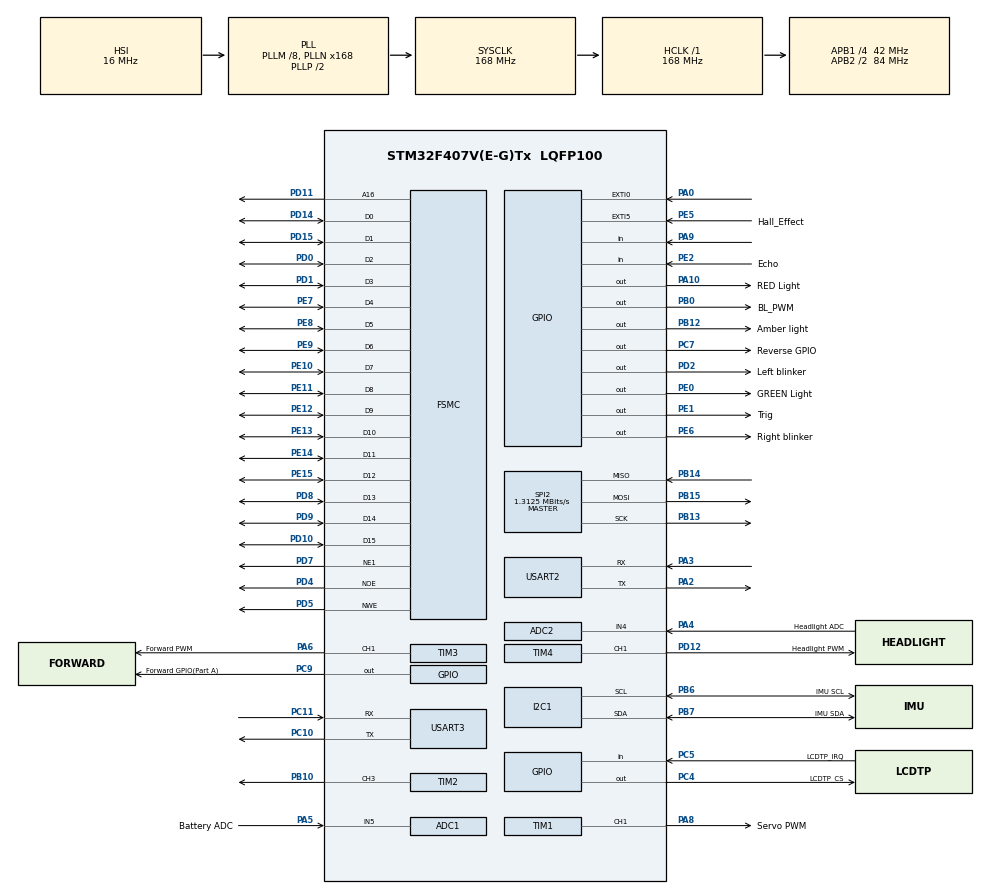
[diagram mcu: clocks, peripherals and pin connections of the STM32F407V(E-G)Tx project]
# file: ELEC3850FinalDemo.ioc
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ADC1.Channel-1\#ChannelRegularConversion=ADC_CHANNEL_5
ADC1.ContinuousConvMode=ENABLE
ADC1.DMAContinuousRequests=ENABLE
ADC1.NbrOfConversionFlag=1
ADC1.Rank-1\#ChannelRegularConversion=1
ADC1.SamplingTime-1\#ChannelRegularConversion=ADC_SAMPLETIME_3CYCLES
ADC1.ScanConvMode=ENABLE
ADC1.master=1
ADC2.Channel-0\#ChannelRegularConversion=ADC_CHANNEL_4
ADC2.ContinuousConvMode=ENABLE
ADC2.DMAContinuousRequests=ENABLE
ADC2.NbrOfConversionFlag=1
ADC2.Rank-0\#ChannelRegularConversion=1
ADC2.SamplingTime-0\#ChannelRegularConversion=ADC_SAMPLETIME_3CYCLES
Dma.ADC1.0.Direction=DMA_PERIPH_TO_MEMORY
Dma.ADC1.0.FIFOMode=DMA_FIFOMODE_DISABLE
Dma.ADC1.0.Instance=DMA2_Stream0
Dma.ADC1.0.MemDataAlignment=DMA_MDATAALIGN_WORD
Dma.ADC1.0.MemInc=DMA_MINC_ENABLE
Dma.ADC1.0.Mode=DMA_CIRCULAR
Dma.ADC1.0.PeriphDataAlignment=DMA_PDATAALIGN_WORD
Dma.ADC1.0.PeriphInc=DMA_PINC_DISABLE
Dma.ADC1.0.Priority=DMA_PRIORITY_LOW
Dma.ADC2.1.Direction=DMA_PERIPH_TO_MEMORY
Dma.ADC2.1.FIFOMode=DMA_FIFOMODE_DISABLE
Dma.ADC2.1.Instance=DMA2_Stream2
Dma.ADC2.1.MemDataAlignment=DMA_MDATAALIGN_WORD
Dma.ADC2.1.MemInc=DMA_MINC_ENABLE
Dma.ADC2.1.Mode=DMA_CIRCULAR
Dma.ADC2.1.PeriphDataAlignment=DMA_PDATAALIGN_WORD
Dma.ADC2.1.PeriphInc=DMA_PINC_DISABLE
Dma.ADC2.1.Priority=DMA_PRIORITY_LOW
Dma.Request0=ADC1
Dma.Request1=ADC2
Dma.Request2=USART2_RX
Dma.USART2_RX.2.Direction=DMA_PERIPH_TO_MEMORY
Dma.USART2_RX.2.FIFOMode=DMA_FIFOMODE_DISABLE
Dma.USART2_RX.2.Instance=DMA1_Stream5
Dma.USART2_RX.2.MemDataAlignment=DMA_MDATAALIGN_BYTE
Dma.USART2_RX.2.MemInc=DMA_MINC_ENABLE
Dma.USART2_RX.2.Mode=DMA_CIRCULAR
Dma.USART2_RX.2.PeriphDataAlignment=DMA_PDATAALIGN_BYTE
Dma.USART2_RX.2.PeriphInc=DMA_PINC_DISABLE
Dma.USART2_RX.2.Priority=DMA_PRIORITY_LOW
FSMC.AddressSetupTime1=4
FSMC.BusTurnAroundDuration1=0
FSMC.DataSetupTime1=40
Mcu.Family=STM32F4
Mcu.Name=STM32F407V(E-G)Tx
Mcu.Package=LQFP100
NVIC.DMA1_Stream5_IRQn=true\:0\:0\:false\:false\:true\:false\:true
NVIC.DMA2_Stream0_IRQn=true\:0\:0\:false\:false\:true\:false\:true
NVIC.DMA2_Stream2_IRQn=true\:0\:0\:false\:false\:true\:false\:true
NVIC.EXTI0_IRQn=true\:0\:0\:false\:false\:true\:true\:true
NVIC.EXTI9_5_IRQn=true\:0\:0\:false\:false\:true\:true\:true
NVIC.PriorityGroup=NVIC_PRIORITYGROUP_4
NVIC.SPI2_IRQn=true\:0\:0\:false\:false\:true\:true\:true
NVIC.TIM5_IRQn=true\:0\:0\:false\:false\:true\:true\:true
PA0-WKUP.GPIO_ModeDefaultEXTI=GPIO_MODE_IT_FALLING
PA0-WKUP.Signal=GPXTI0
PA10.GPIO_Label=RED Light
PA10.Signal=GPIO_Output
PA2.Mode=Asynchronous
PA2.Signal=USART2_TX
PA3.Mode=Asynchronous
PA3.Signal=USART2_RX
PA4.GPIO_Label=Headlight ADC
PA4.Signal=ADCx_IN4
PA5.GPIO_Label=Battery ADC
PA5.Signal=ADCx_IN5
PA6.GPIO_Label=Forward PWM
PA6.Signal=S_TIM3_CH1
PA8.GPIO_Label=Servo PWM
PA8.Signal=S_TIM1_CH1
PA9.Signal=GPIO_Input
PB0.GPIO_Label=BL_PWM
PB0.PinState=GPIO_PIN_RESET
PB0.Signal=GPIO_Output
PB10.Signal=S_TIM2_CH3
PB12.GPIO_Label=Amber light
PB12.Signal=GPIO_Output
PB13.Mode=Full_Duplex_Master
PB13.Signal=SPI2_SCK
PB14.Mode=Full_Duplex_Master
PB14.Signal=SPI2_MISO
PB15.Mode=Full_Duplex_Master
PB15.Signal=SPI2_MOSI
PB6.GPIO_Label=IMU SCL
PB6.Mode=I2C
PB6.Signal=I2C1_SCL
PB7.GPIO_Label=IMU SDA
PB7.Mode=I2C
PB7.Signal=I2C1_SDA
PC10.Mode=Asynchronous
PC10.Signal=USART3_TX
PC11.Mode=Asynchronous
PC11.Signal=USART3_RX
PC4.GPIO_Label=LCDTP_CS
PC4.GPIO_PuPd=GPIO_PULLDOWN
PC4.Signal=GPIO_Output
PC5.GPIO_Label=LCDTP_IRQ
PC5.GPIO_PuPd=GPIO_NOPULL
PC5.Signal=GPIO_Input
PC7.GPIO_Label=Reverse GPIO
PC7.Signal=GPIO_Output
PC9.GPIO_Label=Forward GPIO(Part A)
PC9.Signal=GPIO_Output
PD0.Mode=16b-d1
PD0.Signal=FSMC_D2
PD1.Mode=16b-d1
PD1.Signal=FSMC_D3
PD10.Mode=16b-d1
PD10.Signal=FSMC_D15
PD11.Mode=A16_1
PD11.Signal=FSMC_A16
PD12.GPIO_Label=Headlight PWM
PD12.Signal=S_TIM4_CH1
PD14.Mode=16b-d1
PD14.Signal=FSMC_D0
PD15.Mode=16b-d1
PD15.Signal=FSMC_D1
PD2.GPIO_Label=Left blinker
PD2.Signal=GPIO_Output
PD4.Mode=Lcd1
PD4.Signal=FSMC_NOE
PD5.Mode=Lcd1
PD5.Signal=FSMC_NWE
PD7.Mode=NorPsramChipSelect1_1
PD7.Signal=FSMC_NE1
PD8.Mode=16b-d1
PD8.Signal=FSMC_D13
PD9.Mode=16b-d1
PD9.Signal=FSMC_D14
PE0.GPIO_Label=GREEN Light
PE0.Signal=GPIO_Output
PE1.GPIO_Label=Trig
PE1.Signal=GPIO_Output
PE10.Mode=16b-d1
PE10.Signal=FSMC_D7
PE11.Mode=16b-d1
PE11.Signal=FSMC_D8
PE12.Mode=16b-d1
PE12.Signal=FSMC_D9
PE13.Mode=16b-d1
PE13.Signal=FSMC_D10
PE14.Mode=16b-d1
PE14.Signal=FSMC_D11
PE15.Mode=16b-d1
PE15.Signal=FSMC_D12
PE2.GPIO_Label=Echo
PE2.Signal=GPIO_Input
PE5.GPIO_Label=Hall_Effect
PE5.GPIO_ModeDefaultEXTI=GPIO_MODE_IT_FALLING
PE5.GPIO_PuPd=GPIO_PULLUP
PE5.Signal=GPXTI5
PE6.GPIO_Label=Right blinker
PE6.Signal=GPIO_Output
PE7.Mode=16b-d1
PE7.Signal=FSMC_D4
PE8.Mode=16b-d1
PE8.Signal=FSMC_D5
PE9.Mode=16b-d1
PE9.Signal=FSMC_D6
ProjectManager.HeapSize=0x200
ProjectManager.StackSize=0x400
ProjectManager.TargetToolchain=STM32CubeIDE
RCC.48MHZClocksFreq_Value=84000000
RCC.AHBFreq_Value=168000000
RCC.APB1CLKDivider=RCC_HCLK_DIV4
RCC.APB1Freq_Value=42000000
RCC.APB1TimFreq_Value=84000000
RCC.APB2CLKDivider=RCC_HCLK_DIV2
RCC.APB2Freq_Value=84000000
RCC.APB2TimFreq_Value=168000000
RCC.CortexFreq_Value=168000000
RCC.HCLKFreq_Value=168000000
RCC.HSE_VALUE=8000000
RCC.HSI_VALUE=16000000
RCC.LSE_VALUE=32768
RCC.PLLM=8
RCC.PLLN=168
RCC.SYSCLKFreq_VALUE=168000000
RCC.SYSCLKSource=RCC_SYSCLKSOURCE_PLLCLK
RCC.VCOOutputFreq_Value=336000000
SH.ADCx_IN4.0=ADC2_IN4,IN4
SH.ADCx_IN5.0=ADC1_IN5,IN5
SH.S_TIM1_CH1.0=TIM1_CH1,PWM Generation1 CH1
SH.S_TIM2_CH3.0=TIM2_CH3,PWM Generation3 CH3
SH.S_TIM3_CH1.0=TIM3_CH1,PWM Generation1 CH1
SH.S_TIM4_CH1.0=TIM4_CH1,PWM Generation1 CH1
SPI2.BaudRatePrescaler=SPI_BAUDRATEPRESCALER_32
SPI2.CalculateBaudRate=1.3125 MBits/s
SPI2.Direction=SPI_DIRECTION_2LINES
SPI2.Mode=SPI_MODE_MASTER
SPI2.VirtualType=VM_MASTER
TIM1.Channel-PWM\ Generation1\ CH1=TIM_CHANNEL_1
TIM1.Period=2000
TIM1.Prescaler=1680
TIM2.Channel-PWM\ Generation3\ CH3=TIM_CHANNEL_3
TIM2.Period=499
TIM2.Prescaler=84
TIM3.Channel-PWM\ Generation1\ CH1=TIM_CHANNEL_1
TIM3.Period=499
TIM3.Prescaler=84
TIM4.Channel-PWM\ Generation1\ CH1=TIM_CHANNEL_1
TIM4.Period=1000
TIM4.Prescaler=66
TIM5.AutoReloadPreload=TIM_AUTORELOAD_PRELOAD_ENABLE
TIM5.Period=42000
TIM5.Prescaler=10000
USART2.VirtualMode=VM_ASYNC
USART3.VirtualMode=VM_ASYNC
VP_TIM1_VS_ClockSourceINT.Mode=Internal
VP_TIM2_VS_ClockSourceINT.Mode=Internal
VP_TIM3_VS_ClockSourceINT.Mode=Internal
VP_TIM4_VS_ClockSourceINT.Mode=Internal
VP_TIM5_VS_ClockSourceINT.Mode=Internal
board=custom

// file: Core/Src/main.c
/* USER CODE BEGIN Header */
/**
 ******************************************************************************
 * @file           : main.c
 * @brief          : Main program body
 ******************************************************************************
 * @attention
 *
 * <h2><center>&copy; Copyright (c) 2020 STMicroelectronics.
 * All rights reserved.</center></h2>
 *
 * This software component is licensed by ST under BSD 3-Clause license,
 * the "License"; You may not use this file except in compliance with the
 * License. You may obtain a copy of the License at:
 *                        opensource.org/licenses/BSD-3-Clause
 *
 ******************************************************************************
 */
/* USER CODE END Header */
#include "main.h"
#include "adc.h"
#include "dma.h"
#include "i2c.h"
#include "spi.h"
#include "tim.h"
#include "usart.h"
#include "gpio.h"
#include "fsmc.h"

/* USER CODE BEGIN Includes */
#include "../Fonts/fonts.h"
#include "../BSP/openx07v_c_lcd.h"
#include <math.h>
#include "stm32f407xx.h"
#include "stdio.h"
#include "inttypes.h"
#include <string.h>
#include "stm32f4xx_hal.h"
#include "lsm9ds1_reg.h"
#include "../BSP/touch_panel.h"

/* USER CODE END Includes */

/* USER CODE BEGIN PTD */
//State Machine type definition
typedef void* (*func_t)();

//IMU typedefs
typedef union {
	int16_t i16bit[3];
	uint8_t u8bit[6];
} axis3bit16_t;

typedef struct {
	void *hbus;
	uint8_t i2c_address;
	uint8_t cs_port;
	uint8_t cs_pin;
} sensbus_t;

/* USER CODE END PTD */

/* USER CODE BEGIN PD */
#define SENSOR_BUS hi2c1
/* USER CODE END PD */

/* USER CODE BEGIN PM */
#define    BOOT_TIME            20 //ms
/* USER CODE END PM */

/* USER CODE BEGIN PV */
//General PVs
uint32_t stopDist;
uint16_t track, trackLight;

const int LEFT = 2;
const int RIGHT = 1;
const int FORWARD = 0;
const int REVERSE = 1;
const int HALL_EFFECT = 32;
const int ULTRASONIC = 4;
const int DRIVESPEED = 300;
const int TRACKONE= 80, TRACKTWO=45,TRACKTHREE= 75, TRACKFOUR=30,TRACKFIVE= 30, TRACKSIX=30;

//ADC PVs
uint32_t ADC_VALUE = 2;
uint32_t headlight = 2;
volatile int batCap;
enum {
	ADC_BUFFER_LEN = 8192
};
uint32_t ADC1_BUFFER[ADC_BUFFER_LEN];
uint32_t ADC2_BUFFER[ADC_BUFFER_LEN];
//Blinker variables
int blinkerFlag = 0;
int blinkerOnR = 0;
int blinkerOnL = 0;
int stopFlag = 1;
int countLcd = 0;

//Hall effect PVs
uint32_t newTime = 0, oldTime = 0;
volatile float speed;
volatile uint32_t quarterRevs = 0;
uint32_t storequarterRevs;

//Ultrasonic PVs
uint32_t sensor_time;
volatile uint16_t distance;
const uint16_t distanceLim = 40;
char buffer[100];
volatile uint8_t ultraFlag = 0;
volatile uint32_t sensorTime;

//State Machine PV
volatile uint16_t statechange = 0;

//Hall effect PV
char string[7], string2[18];

int counter;

//IMU private variables
static sensbus_t mag_bus = { &SENSOR_BUS, LSM9DS1_MAG_I2C_ADD_H, 0, 0 };
static sensbus_t imu_bus = { &SENSOR_BUS, LSM9DS1_IMU_I2C_ADD_H, 0, 0 };
static axis3bit16_t data_raw_acceleration;
static axis3bit16_t data_raw_angular_rate;
static axis3bit16_t data_raw_magnetic_field;
static float acceleration_mg[3];
static float angular_rate_mdps[3];
static float magnetic_field_mgauss[3];
static lsm9ds1_id_t whoamI;
static lsm9ds1_status_t reg;
static uint8_t rst;
static uint8_t tx_buffer[1000];
static stmdev_ctx_t dev_ctx_imu;
static stmdev_ctx_t dev_ctx_mag;
static float averageGyroZ;

//LCD variables

uint16_t linenum = 0;
const uint16_t MAX_ENTRY_COUNT = 159;
static uint16_t entryCount = 0;
static uint16_t displayEntryX = 1;
static uint16_t displayEntryY = 4;
char str[100]; //for displaying answer on lcd
uint8_t *state1String = "Wait state          ";
uint8_t *state2String = "Forward state       ";
uint8_t *state3String = "Reverse state       ";
uint8_t *state4String = "Clockwise state     ";
uint8_t *state5String = "Anti-clockwise state";
uint8_t *state6String = "Traffic Light state";
uint8_t *stateString="Wait state         ";

//wifi receive variables
//uint16_t uart_rx_data_waiting = 0;
////uint16_t uart_tx_data_waiting = 0;
//uint8_t rx_data[1];
//uint8_t del = 2;
//uint8_t cn = 0;

//wifi receive variables
uint8_t rx_data[3];
int i;
char *time;
volatile char light;
char one;
char two;
volatile int trafficStop;
float distTravelled = 0.0;

/* USER CODE END PV */

void SystemClock_Config(void);
/* USER CODE BEGIN PFP */
//General PFPs
void driveForward();
void reverse();
void turnLeft();
void turnRight();
void centreWheels(int direction);
void brake(int direction);
void stop(void);
uint32_t avoidObstacle(int direction);
uint8_t BSP_TP_Init(void);
uint8_t BSP_TP_GetDisplayPoint(Coordinate *pDisplay);

//LCD PFPs
void LCD_Print(uint8_t *stateString);
void CalculatorInit(void);
void CalculatorProcess(void);
void LCDEntry1(uint8_t *textEntry);
void LCDEntry2(uint8_t *textEntry, int length);
void LCDEntry(uint16_t displayEntryX, uint16_t displayEntryY,
		uint8_t *textEntry, uint16_t entryCount);
int distSelect();
int trackSelect();

//Hall Effect PFP
void HAL_GPIO_EXTI_Callback(uint16_t GPIO_Pin);

//Ultrasonic PFPs
uint32_t Read_HCSR04();
void getDistance(void);

//Servo PFPs
void servo_write(int);
int map(int, int, int, int, int);
void delay_us(uint16_t us);

//IMU PFPs
void IMU_Init(void);
void readIMU(void);
static int32_t platform_write_imu(void *handle, uint8_t reg, uint8_t *bufp,
		uint16_t len);
static int32_t platform_read_imu(void *handle, uint8_t reg, uint8_t *bufp,
		uint16_t len);
static int32_t platform_write_mag(void *handle, uint8_t reg, uint8_t *bufp,
		uint16_t len);
static int32_t platform_read_mag(void *handle, uint8_t reg, uint8_t *bufp,
		uint16_t len);
static void platform_delay(uint32_t ms);

//State functions
void* state1();
void* state2();
void* state3();
void* state4();
void* state5();
void* state6();
volatile func_t state = state1;

/* USER CODE END PFP */

int main(void)
{
  /* USER CODE BEGIN 1 */
	//char buffer[100];
  /* USER CODE END 1 */

  /* MCU Configuration--------------------------------------------------------*/

  /* Reset of all peripherals, Initializes the Flash interface and the Systick. */
  HAL_Init();

  /* Configure the system clock */
  SystemClock_Config();

  /* Initialize all configured peripherals */
  MX_GPIO_Init();
  MX_DMA_Init();
  MX_ADC1_Init();
  MX_FSMC_Init();
  MX_I2C1_Init();
  MX_TIM1_Init();
  MX_TIM2_Init();
  MX_TIM3_Init();
  MX_USART3_UART_Init();
  MX_SPI2_Init();
  MX_TIM4_Init();
  MX_ADC2_Init();
  MX_USART2_UART_Init();
  MX_TIM5_Init();
  /* USER CODE BEGIN 2 */
	CalculatorInit();
	IMU_Init();
	HAL_UART_Receive_DMA(&huart2, rx_data, 3);
	HAL_ADC_Start_DMA(&hadc1, ADC1_BUFFER, ADC_BUFFER_LEN);
	HAL_ADC_Start_DMA(&hadc2, ADC2_BUFFER, ADC_BUFFER_LEN);

	//  // Display welcome message
	//  BSP_LCD_Clear (LCD_COLOR_WHITE);
	//  BSP_LCD_SetFont (&Font24);
	//  BSP_LCD_SetTextColor (LCD_COLOR_BLACK);

	//BSP_LCD_DisplayStringAtLine (2, (uint8_t*) "Hello World");
	HAL_TIM_PWM_Start(&htim1, TIM_CHANNEL_1);
	HAL_TIM_Base_Start(&htim2);

	HAL_TIM_Base_Start(&htim3);               //Initialize stm32 timer 3
	HAL_TIM_PWM_Start(&htim3, TIM_CHANNEL_1);
	HAL_TIM_Base_Start(&htim4);               //Initialize stm32 timer 3
	HAL_TIM_PWM_Start(&htim4, TIM_CHANNEL_1);
	HAL_TIM_Base_Start_IT(&htim5);
	stop();

	centreWheels(FORWARD);
	//servo_sweep();

	//lsm9ds1_read_data_polling();
  /* USER CODE END 2 */

  /* Infinite loop */
  /* USER CODE BEGIN WHILE */

	while (1) {
		(func_t) (*state)();

    /* USER CODE END WHILE */

	}
}

void SystemClock_Config(void)
{
  RCC_OscInitTypeDef RCC_OscInitStruct = {0};
  RCC_ClkInitTypeDef RCC_ClkInitStruct = {0};

  /** Configure the main internal regulator output voltage
  */
  __HAL_RCC_PWR_CLK_ENABLE();
  __HAL_PWR_VOLTAGESCALING_CONFIG(PWR_REGULATOR_VOLTAGE_SCALE1);
  /** Initializes the RCC Oscillators according to the specified parameters
  * in the RCC_OscInitTypeDef structure.
  */
  RCC_OscInitStruct.OscillatorType = RCC_OSCILLATORTYPE_HSI;
  RCC_OscInitStruct.HSIState = RCC_HSI_ON;
  RCC_OscInitStruct.HSICalibrationValue = RCC_HSICALIBRATION_DEFAULT;
  RCC_OscInitStruct.PLL.PLLState = RCC_PLL_ON;
  RCC_OscInitStruct.PLL.PLLSource = RCC_PLLSOURCE_HSI;
  RCC_OscInitStruct.PLL.PLLM = 8;
  RCC_OscInitStruct.PLL.PLLN = 168;
  RCC_OscInitStruct.PLL.PLLP = RCC_PLLP_DIV2;
  RCC_OscInitStruct.PLL.PLLQ = 4;
  if (HAL_RCC_OscConfig(&RCC_OscInitStruct) != HAL_OK)
  {
    Error_Handler();
  }
  /** Initializes the CPU, AHB and APB buses clocks
  */
  RCC_ClkInitStruct.ClockType = RCC_CLOCKTYPE_HCLK|RCC_CLOCKTYPE_SYSCLK
                              |RCC_CLOCKTYPE_PCLK1|RCC_CLOCKTYPE_PCLK2;
  RCC_ClkInitStruct.SYSCLKSource = RCC_SYSCLKSOURCE_PLLCLK;
  RCC_ClkInitStruct.AHBCLKDivider = RCC_SYSCLK_DIV1;
  RCC_ClkInitStruct.APB1CLKDivider = RCC_HCLK_DIV4;
  RCC_ClkInitStruct.APB2CLKDivider = RCC_HCLK_DIV2;

  if (HAL_RCC_ClockConfig(&RCC_ClkInitStruct, FLASH_LATENCY_5) != HAL_OK)
  {
    Error_Handler();
  }
}

/* USER CODE BEGIN 4 */

//State Machine function definitions
//Wait state
void* state1() {
	//fill in with state instructions, eg drive forward
	stateString=state1String;
	stop();
	speed = 0;
	getDistance();
//	LCD_Print(state1String);
	readIMU();
	CalculatorProcess();
	return 0;
	//return nextState;
}

//Drive forward state
void* state2() {
	stateString=state2String;
	//fill in with state instructions, eg drive forward
	quarterRevs = 0;
	//sprintf(state2String, "Forward state- %d cm", (int)stopDist);
	centreWheels(FORWARD);
	driveForward();
	while (distance > (stopDist + 5)) {
		if (state != state2) {
			stop();
			return 0;
		}
		centreWheels(FORWARD);
		getDistance();
		readIMU();
//		LCD_Print(state2String);
	}
	brake(FORWARD);
	speed = 0;
//	LCD_Print(state2String);
	HAL_Delay(2000);
	state = state3;
	storequarterRevs = quarterRevs;
	quarterRevs = 0;
	stopDist = 0;
	return 0;

}

//Reverse State
void* state3() {
	stateString=state3String;
	centreWheels(REVERSE);
	reverse();
	while (quarterRevs < storequarterRevs) {
		//Add centre wheels for reverse mode?
		getDistance();
		readIMU();
		centreWheels(REVERSE);
//		LCD_Print(state3String);
	}
	brake(REVERSE);
	quarterRevs = 0;
	state = state1;
	return 0;

}

//Clockwise state
void* state4() {
	stateString=state4String;
//	LCD_Print(state4String);
	readIMU();
	getDistance();
	quarterRevs = 0;

	//First straight
	while (quarterRevs < 65) {
		driveForward();
		centreWheels(FORWARD);
		readIMU();
		getDistance();

		if (distance <= 30) {
			quarterRevs = avoidObstacle(RIGHT);

		}
//		LCD_Print((uint8_t*) "Clockwise state");
		if (state != state4) {
			return 0;
		}
	}
	brake(FORWARD);

	//First turn
	turnRight();
	quarterRevs = 0;
	while (quarterRevs < 34) {
		driveForward();
		readIMU();
		getDistance();
		while (distance <= 30) {
			stop();
			getDistance();
		}

//		LCD_Print((uint8_t*) "Clockwise state");
		if (state != state4) {
			return 0;
		}
	}
	blinkerFlag = 0;

	//Second straight
	centreWheels(FORWARD);
	quarterRevs = 0;
	while (quarterRevs < 15) {
		centreWheels(FORWARD);
	}
	brake(FORWARD);

	//Second turn
	turnRight();
	quarterRevs = 0;
	while (quarterRevs < 32) {
		driveForward();
		readIMU();
		getDistance();
		while (distance <= 30) {
			stop();
			getDistance();
		}

//		LCD_Print((uint8_t*) "Clockwise state");
		if (state != state4) {
			return 0;
		}
	}

	blinkerFlag = 0;

	//Third straight
	centreWheels(FORWARD);
	quarterRevs = 0;
	while (quarterRevs < 54) {
		driveForward();
		centreWheels(FORWARD);
		readIMU();
		getDistance();
		if (distance <= 30) {
			quarterRevs = avoidObstacle(RIGHT);

		}

		LCD_Print((uint8_t*) "Clockwise state");
		if (state != state4) {
			return 0;
		}
	}
	stop();
	brake(FORWARD);

	//Third turn
	turnRight();
	quarterRevs = 0;
	while (quarterRevs < 32) {
		driveForward();
		readIMU();
		getDistance();
		while (distance <= 30) {
			stop();
			getDistance();
		}

//		LCD_Print((uint8_t*) "Clockwise state");
		if (state != state4) {
			return 0;
		}
	}

	blinkerFlag = 0;

	centreWheels(FORWARD);
	quarterRevs = 0;
	while (quarterRevs < 16) {
		centreWheels(FORWARD);
	}

	brake(FORWARD);
	turnRight();
	quarterRevs = 0;
	while (quarterRevs < 32) {
		driveForward();
		readIMU();
		getDistance();
		while (distance <= 30) {
			stop();
			getDistance();
		}

//		LCD_Print((uint8_t*) "Clockwise state");
		if (state != state4) {
			return 0;
		}
	}

	blinkerFlag = 0;

	centreWheels(FORWARD);
	quarterRevs = 0;

	stop();
	state = state1;

	return 0;
}

//Anti-clockwise state
void* state5() {
	stateString=state5String;
//	LCD_Print(state5String);
	readIMU();
	getDistance();

	//First turn
	turnLeft();
	quarterRevs = 0;
	while (quarterRevs < 36) {
		driveForward();
		readIMU();
		getDistance();
		while (distance <= 30) {
			stop();
			getDistance();
		}

//		LCD_Print(state5String);
		if (state != state5) {
			return 0;
		}
	}

	blinkerFlag = 0;

	//First straight
	centreWheels(FORWARD);
	quarterRevs = 0;
	while (quarterRevs < 14) {
		centreWheels(FORWARD);
//		LCD_Print(state5String);
	}
	stop();
	brake(FORWARD);

	//Second turn
	turnLeft();
	quarterRevs = 0;
	while (quarterRevs < 31) {
		driveForward();
		readIMU();
		getDistance();
		while (distance <= 30) {
			stop();
			getDistance();
		}

//		LCD_Print(state5String);
		if (state != state5) {
			return 0;
		}
	}
	blinkerFlag = 0;

	//Second straight
	centreWheels(FORWARD);
	quarterRevs = 0;
	while (quarterRevs < 54) {
		driveForward();
		centreWheels(FORWARD);
		readIMU();
		getDistance();
		if (distance <= 30) {
			quarterRevs = avoidObstacle(LEFT);

		}
//		LCD_Print(state5String);
		if (state != state5) {
			return 0;
		}
	}
	stop();
	brake(FORWARD);

	//Third turn
	turnLeft();
	quarterRevs = 0;
	while (quarterRevs < 32) {
		driveForward();
		readIMU();
		getDistance();
		while (distance <= 30) {
			stop();
			getDistance();
		}

//		LCD_Print(state5String);
		if (state != state5) {
			return 0;
		}
	}
	blinkerFlag = 0;

	//Third straight
	centreWheels(FORWARD);
	quarterRevs = 0;
	while (quarterRevs < 11) {
		centreWheels(FORWARD);
		while (distance <= 30) {
			stop();
			getDistance();
		}
	}
	brake(FORWARD);

	//Fourth turn
	turnLeft();
	quarterRevs = 0;
	while (quarterRevs < 30) {
		driveForward();
		readIMU();
		getDistance();
		while (distance <= 30) {
			stop();
			getDistance();
		}

//		LCD_Print(state5String);
		if (state != state5) {
			return 0;
		}
	}
	blinkerFlag = 0;
	//Final straight
	while (quarterRevs < 82) {
		driveForward();
		centreWheels(FORWARD);
		readIMU();
		getDistance();

		if (distance <= 30) {
			quarterRevs = avoidObstacle(LEFT);

		}
//		LCD_Print(state5String);
		if (state != state5) {
			return 0;
		}
	}
	brake(FORWARD);
	stop();
	quarterRevs = 0;
	state = state1;
	return 0;

}

void* state6() {
	stateString=state6String;
	quarterRevs = 0;
//sprintf(state2String, "Forward state- %d cm", (int)stopDist);
	centreWheels(FORWARD);

	while (quarterRevs < trackLight) {               //traffic light distance
		while(distance<30){
			stop();
			getDistance();
		}
		driveForward();
		centreWheels(FORWARD);
		getDistance();
		readIMU();
//		LCD_Print(state2String);
	}
	if (trafficStop) { //not green
		brake(FORWARD);

		while (trafficStop) { //not green
//			LCD_Print(state2String);
			getDistance();
			readIMU();
		}
	}

	while (quarterRevs < track) { //Drive to end of track
		while(distance<30){

					stop();
					getDistance();
					HAL_Delay(100);
				}
		driveForward();
		centreWheels(FORWARD);
		getDistance();
		readIMU();
//		LCD_Print(state2String);
	}

	stop();
	brake(FORWARD);
state=state1;
	return 0;
}

//General functions

void driveForward() {
	stopFlag = 0;
	HAL_GPIO_WritePin(GPIOC, GPIO_PIN_7, GPIO_PIN_RESET); //Sets the Direction
	HAL_GPIO_WritePin(GPIOC, GPIO_PIN_9, GPIO_PIN_SET);
	TIM3->CCR1 = DRIVESPEED; //Sets the speed
}
void reverse() {
	stopFlag = 0;
	HAL_GPIO_WritePin(GPIOC, GPIO_PIN_7, GPIO_PIN_SET); //Sets the Direction
	HAL_GPIO_WritePin(GPIOC, GPIO_PIN_9, GPIO_PIN_RESET);
	TIM3->CCR1 = DRIVESPEED; //Sets the speed
}

void turnLeft() {

//add turn left blinker on
	servo_write(70);
// HAL_GPIO_WritePin(GPIOC, GPIO_PIN_7, GPIO_PIN_RESET); //Sets the Direction
// HAL_GPIO_WritePin(GPIOC, GPIO_PIN_9, GPIO_PIN_SET);
	blinkerFlag = LEFT;
//add speed control

}
void turnRight() {

//add turn right blinker on
	servo_write(120);
// HAL_GPIO_WritePin(GPIOC, GPIO_PIN_7, GPIO_PIN_RESET); //Sets the Direction
// HAL_GPIO_WritePin(GPIOC, GPIO_PIN_9, GPIO_PIN_SET);
	blinkerFlag = RIGHT;
//add speed control
}
void centreWheels(int direction) {
//servo_write(97);
	blinkerFlag = FORWARD;
	if (direction == FORWARD) {
		if (averageGyroZ > 1000) {
//htim1.Instance->CCR1 =158;
			servo_write(99);
		} else if (averageGyroZ < -1000) {
//htim1.Instance->CCR1 =156;
			servo_write(93);
		} else {
//htim1.Instance->CCR1 =157;
			servo_write(96);
		}
	} else {
		if (averageGyroZ > 1000) {
//htim1.Instance->CCR1 =158;
			servo_write(93);
		} else if (averageGyroZ < -1000) {
//htim1.Instance->CCR1 =156;
			servo_write(99);
		} else {
//htim1.Instance->CCR1 =157;
			servo_write(96);
		}
	}
}

void brake(int direction) {
	if (direction == FORWARD) {
		HAL_GPIO_WritePin(GPIOC, GPIO_PIN_7, GPIO_PIN_SET); //Sets the Direction
		HAL_GPIO_WritePin(GPIOC, GPIO_PIN_9, GPIO_PIN_RESET);
	} else {
		HAL_GPIO_WritePin(GPIOC, GPIO_PIN_7, GPIO_PIN_RESET); //Sets the Direction
		HAL_GPIO_WritePin(GPIOC, GPIO_PIN_9, GPIO_PIN_SET);
	}
	TIM3->CCR1 = 498;
	HAL_Delay(200);
	TIM3->CCR1 = 0;
	HAL_GPIO_WritePin(GPIOC, GPIO_PIN_7, GPIO_PIN_RESET); //Sets the Direction
	HAL_GPIO_WritePin(GPIOC, GPIO_PIN_9, GPIO_PIN_RESET);
//Turns off blinkers and headlights
	TIM4->CCR1 = 0;
	HAL_GPIO_WritePin(GPIOC, GPIO_PIN_0, GPIO_PIN_RESET);
	HAL_GPIO_WritePin(GPIOD, GPIO_PIN_13, GPIO_PIN_RESET);
	stopFlag = 1;

//			HAL_GPIO_WritePin(GPIOC, GPIO_PIN_7, GPIO_PIN_SET); //Sets the Direction
//			HAL_GPIO_WritePin(GPIOC, GPIO_PIN_9, GPIO_PIN_SET);
//			HAL_Delay(100);
//			HAL_GPIO_WritePin(GPIOC, GPIO_PIN_7, GPIO_PIN_RESET); //Sets the Direction
//			HAL_GPIO_WritePin(GPIOC, GPIO_PIN_9, GPIO_PIN_RESET);

}

void stop(void) {
	stopFlag = 1;
	TIM3->CCR1 = 0;
	HAL_GPIO_WritePin(GPIOC, GPIO_PIN_7, GPIO_PIN_RESET); //Sets the Direction
	HAL_GPIO_WritePin(GPIOC, GPIO_PIN_9, GPIO_PIN_RESET);
	HAL_GPIO_WritePin(GPIOC, GPIO_PIN_0, GPIO_PIN_RESET);
	HAL_GPIO_WritePin(GPIOD, GPIO_PIN_13, GPIO_PIN_RESET);
	TIM4->CCR1 = 0;
}

uint32_t avoidObstacle(int direction) {
	uint16_t distanceLimit = 30;
	int reverseDist, equivDist, straightDist, rightDist, leftDist;
	storequarterRevs = quarterRevs;

	if (distanceLimit <= distanceLim) {
		brake(FORWARD);
	}
	quarterRevs = 0;
	reverse();
	//HAL_Delay(40);
	while (distance <= distanceLim) {
		getDistance();

	}
	brake(REVERSE);
	reverseDist = quarterRevs;
	quarterRevs = 0;
	if (direction == RIGHT) {
		turnRight();
		driveForward(); // for 5 seconds
		HAL_Delay(1500);
		rightDist = quarterRevs;
		quarterRevs = 0;
		turnLeft(); // for 5 seconds
		HAL_Delay(2200);
		leftDist = quarterRevs;
		quarterRevs = 0;
		turnRight();
		HAL_Delay(1540);
		centreWheels(FORWARD);
		straightDist = quarterRevs;
		//HAL_Delay(1600);
		brake(FORWARD);
		//HAL_Delay(20000);
	} else {
		turnLeft();
		driveForward(); // for 5 seconds
		HAL_Delay(1600);
		leftDist = quarterRevs;
		quarterRevs = 0;
		turnRight();
		rightDist = quarterRevs;
		quarterRevs = 0;
		HAL_Delay(2200);
		turnLeft();
		HAL_Delay(1540);
		centreWheels(FORWARD);
		straightDist = quarterRevs;
		//HAL_Delay(1600);
		brake(FORWARD);
		//HAL_Delay(20000);
	}

	equivDist = storequarterRevs - reverseDist + leftDist + rightDist
			+ straightDist;
	return equivDist;
}

//Hall effect sensor function definitions
void HAL_GPIO_EXTI_Callback(uint16_t GPIO_Pin) {
	//Hall effect interrupt
	if (GPIO_Pin == HALL_EFFECT) {
		newTime = HAL_GetTick();
		speed = 49.0 / (newTime - oldTime);	//Calculate speed in m/s, quarter wheel circumference is 49mm
		oldTime = newTime;
		quarterRevs++;
	}

		if (!stopFlag) {
		//		if (headlight > 2000) {
		//			TIM4->CCR1 = 1000;
		//		} else {
		//			TIM4->CCR1 = 100;
		//		}
//				TIM4->CCR1=300*log(headlight);
			TIM4->CCR1= 110*exp(headlight/1000);

			}

	if (GPIO_Pin == ULTRASONIC) {
		ultraFlag = 0;
		int time = __HAL_TIM_GET_COUNTER(&htim2);
		distance = time / 60;
	}
	if ((quarterRevs % 4) == 0) {
		if (blinkerFlag == RIGHT && !blinkerOnR) {
			HAL_GPIO_WritePin(GPIOE, GPIO_PIN_6, GPIO_PIN_SET);
			blinkerOnR = 1;
		} else if (blinkerFlag == LEFT && !blinkerOnL) {
			HAL_GPIO_WritePin(GPIOD, GPIO_PIN_2, GPIO_PIN_SET);
			blinkerOnL = 1;
		} else {
			HAL_GPIO_WritePin(GPIOE, GPIO_PIN_6, GPIO_PIN_RESET);
			HAL_GPIO_WritePin(GPIOD, GPIO_PIN_2, GPIO_PIN_RESET);
			blinkerOnR = 0;
			blinkerOnL = 0;
		}
	}

}

//Ultrasonic function definitions
uint32_t Read_HCSR04() {
	uint32_t local_time = 0;
	uint32_t local_time1 = 0;

	HAL_GPIO_WritePin(GPIOE, GPIO_PIN_1, GPIO_PIN_SET);	// pull the trig pin high
	delay_us(10);										// wait for 10 us
	HAL_GPIO_WritePin(GPIOE, GPIO_PIN_1, GPIO_PIN_RESET);// pull the trig pin low

	// wait for the echo pin to go high

	while (!(HAL_GPIO_ReadPin(GPIOE, GPIO_PIN_2))) {
		local_time1++;									// increment local time
		delay_us(1);									// every 1 us
		if (local_time1 > 60000) {
			return 60000;
		}
	}

	while (HAL_GPIO_ReadPin(GPIOE, GPIO_PIN_2))			// while the pin is high
	{
		local_time++;									// increment local time
		delay_us(1);									// every 1 us

	}

	return local_time;
}

//void getDistance_EXTI(){
//	if(!ultraFlag || (__HAL_TIM_GET_COUNTER(&htim2)>10000)){
//		HAL_GPIO_WritePin(GPIOE, GPIO_PIN_1, GPIO_PIN_SET);	// pull the trig pin high
//		delay_us(10);										// wait for 10 us
//		HAL_GPIO_WritePin(GPIOE, GPIO_PIN_1, GPIO_PIN_RESET);
//		__HAL_TIM_SET_COUNTER(&htim2, 0);	//reset microsecond counter to 0
//		ultraFlag = 1;
//	}
//
//}

void getDistance(void) {
	uint32_t sensor_time = Read_HCSR04();			// get the high time
	distance = sensor_time / 60;
	return;
}

void delay_us(uint16_t us) {
	__HAL_TIM_SET_COUNTER(&htim2, 0);  // set the counter value a 0
	while (__HAL_TIM_GET_COUNTER(&htim2) < us)
		;  // wait for the counter to reach the us input in the parameter
}

//Servo function defs
void servo_write(int angle) {
	htim1.Instance->CCR1 = map(0, 180, 50, 250, angle);
}

int map(int st1, int fn1, int st2, int fn2, int value) {
	return (1.0 * (value - st1)) / ((fn1 - st1) * 1.0) * (fn2 - st2) + st2;
}

//IMU Functions
void IMU_Init(void) {

	/* Initialize inertial sensors (IMU) driver interface */
	dev_ctx_imu.write_reg = platform_write_imu;
	dev_ctx_imu.read_reg = platform_read_imu;
	dev_ctx_imu.handle = (void*) &imu_bus;

	/* Initialize magnetic sensors driver interface */
	dev_ctx_mag.write_reg = platform_write_mag;
	dev_ctx_mag.read_reg = platform_read_mag;
	dev_ctx_mag.handle = (void*) &mag_bus;

	/* Wait sensor boot time */
	platform_delay(BOOT_TIME);

	/* Check device ID */
	lsm9ds1_dev_id_get(&dev_ctx_mag, &dev_ctx_imu, &whoamI);
	if (whoamI.imu != LSM9DS1_IMU_ID || whoamI.mag != LSM9DS1_MAG_ID) {
		while (1) {
			/* manage here device not found */
			LCD_Print((uint8_t*) "IMU NOT FOUND");
		}
	}
	/* Restore default configuration */
	lsm9ds1_dev_reset_set(&dev_ctx_mag, &dev_ctx_imu, PROPERTY_ENABLE);
	do {
		lsm9ds1_dev_reset_get(&dev_ctx_mag, &dev_ctx_imu, &rst);
	} while (rst);

	/* Enable Block Data Update */
	lsm9ds1_block_data_update_set(&dev_ctx_mag, &dev_ctx_imu, PROPERTY_ENABLE);

	/* Set full scale */
	lsm9ds1_xl_full_scale_set(&dev_ctx_imu, LSM9DS1_4g);
	lsm9ds1_gy_full_scale_set(&dev_ctx_imu, LSM9DS1_2000dps);
	lsm9ds1_mag_full_scale_set(&dev_ctx_mag, LSM9DS1_16Ga);

	/* Configure filtering chain - See datasheet for filtering chain details */
	/* Accelerometer filtering chain */
	lsm9ds1_xl_filter_aalias_bandwidth_set(&dev_ctx_imu, LSM9DS1_AUTO);
	lsm9ds1_xl_filter_lp_bandwidth_set(&dev_ctx_imu, LSM9DS1_LP_ODR_DIV_50);
	lsm9ds1_xl_filter_out_path_set(&dev_ctx_imu, LSM9DS1_LP_OUT);
	/* Gyroscope filtering chain */
	lsm9ds1_gy_filter_lp_bandwidth_set(&dev_ctx_imu, LSM9DS1_LP_ULTRA_LIGHT);
	lsm9ds1_gy_filter_hp_bandwidth_set(&dev_ctx_imu, LSM9DS1_HP_MEDIUM);
	lsm9ds1_gy_filter_out_path_set(&dev_ctx_imu, LSM9DS1_LPF1_HPF_LPF2_OUT);

	/* Set Output Data Rate / Power mode */
	lsm9ds1_imu_data_rate_set(&dev_ctx_imu, LSM9DS1_IMU_59Hz5);
	lsm9ds1_mag_data_rate_set(&dev_ctx_mag, LSM9DS1_MAG_UHP_10Hz);

}

void readIMU() {
	lsm9ds1_dev_status_get(&dev_ctx_mag, &dev_ctx_imu, &reg);

	if (reg.status_imu.xlda && reg.status_imu.gda) {
		/* Read imu data */
		memset(data_raw_acceleration.u8bit, 0x00, 3 * sizeof(int16_t));
		memset(data_raw_angular_rate.u8bit, 0x00, 3 * sizeof(int16_t));

		lsm9ds1_acceleration_raw_get(&dev_ctx_imu, data_raw_acceleration.u8bit);
		lsm9ds1_angular_rate_raw_get(&dev_ctx_imu, data_raw_angular_rate.u8bit);

		acceleration_mg[0] = lsm9ds1_from_fs4g_to_mg(
				data_raw_acceleration.i16bit[0]);
		acceleration_mg[1] = lsm9ds1_from_fs4g_to_mg(
				data_raw_acceleration.i16bit[1]);
		acceleration_mg[2] = lsm9ds1_from_fs4g_to_mg(
				data_raw_acceleration.i16bit[2]);

		angular_rate_mdps[0] = lsm9ds1_from_fs2000dps_to_mdps(
				data_raw_angular_rate.i16bit[0]);
		angular_rate_mdps[1] = lsm9ds1_from_fs2000dps_to_mdps(
				data_raw_angular_rate.i16bit[1]);
		//angular_rate_mdps[2] = lsm9ds1_from_fs2000dps_to_mdps(data_raw_angular_rate.i16bit[2]);
		float gyroTotal = 0, gyroZValue;
		int i = 0, N = 10;
		for (i = 0; i < N; i++) {
			gyroZValue = lsm9ds1_from_fs2000dps_to_mdps(
					data_raw_angular_rate.i16bit[2]);
			gyroTotal += gyroZValue;

		}
		averageGyroZ = gyroTotal / N;

		sprintf((char*) tx_buffer,
				"IMU - [mg]:%4.2f\t%4.2f\t%4.2f\t[mdps]:%4.2f\t%4.2f\t%4.2f\r\n",
				acceleration_mg[0], acceleration_mg[1], acceleration_mg[2],
				angular_rate_mdps[0], angular_rate_mdps[1],
				angular_rate_mdps[2]);
		// tx_com(tx_buffer, strlen((char const*)tx_buffer));
	}

	if (reg.status_mag.zyxda) {
		/* Read magnetometer data */
		memset(data_raw_magnetic_field.u8bit, 0x00, 3 * sizeof(int16_t));

		lsm9ds1_magnetic_raw_get(&dev_ctx_mag, data_raw_magnetic_field.u8bit);

		magnetic_field_mgauss[0] = lsm9ds1_from_fs16gauss_to_mG(
				data_raw_magnetic_field.i16bit[0]);
		magnetic_field_mgauss[1] = lsm9ds1_from_fs16gauss_to_mG(
				data_raw_magnetic_field.i16bit[1]);
		magnetic_field_mgauss[2] = lsm9ds1_from_fs16gauss_to_mG(
				data_raw_magnetic_field.i16bit[2]);

		sprintf((char*) tx_buffer, "MAG - [mG]:%4.2f\t%4.2f\t%4.2f\r\n",
				magnetic_field_mgauss[0], magnetic_field_mgauss[1],
				magnetic_field_mgauss[2]);
		// tx_com(tx_buffer, strlen((char const*)tx_buffer));
	}
	return;
}

/*
 * @brief  Write generic imu register (platform dependent)
 *
 * @param  handle    customizable argument. In this examples is used in
 *                   order to select the correct sensor bus handler.
 * @param  reg       register to write
 * @param  bufp      pointer to data to write in register reg
 * @param  len       number of consecutive register to write
 *
 */
static int32_t platform_write_imu(void *handle, uint8_t reg, uint8_t *bufp,
		uint16_t len) {
	sensbus_t *sensbus = (sensbus_t*) handle;

	HAL_I2C_Mem_Write(sensbus->hbus, sensbus->i2c_address, reg,
	I2C_MEMADD_SIZE_8BIT, bufp, len, 1000);

	return 0;
}

/*
 * @brief  Write generic magnetometer register (platform dependent)
 *
 * @param  handle    customizable argument. In this examples is used in
 *                   order to select the correct sensor bus handler.
 * @param  reg       register to write
 * @param  bufp      pointer to data to write in register reg
 * @param  len       number of consecutive register to write
 *
 */
static int32_t platform_write_mag(void *handle, uint8_t reg, uint8_t *bufp,
		uint16_t len) {
	sensbus_t *sensbus = (sensbus_t*) handle;

	/* Write multiple command */
	reg |= 0x80;
	HAL_I2C_Mem_Write(sensbus->hbus, sensbus->i2c_address, reg,
	I2C_MEMADD_SIZE_8BIT, bufp, len, 1000);

	return 0;
}

/*
 * @brief  Read generic imu register (platform dependent)
 *
 * @param  handle    customizable argument. In this examples is used in
 *                   order to select the correct sensor bus handler.
 * @param  reg       register to read
 * @param  bufp      pointer to buffer that store the data read
 * @param  len       number of consecutive register to read
 *
 */
static int32_t platform_read_imu(void *handle, uint8_t reg, uint8_t *bufp,
		uint16_t len) {
	sensbus_t *sensbus = (sensbus_t*) handle;

	HAL_I2C_Mem_Read(sensbus->hbus, sensbus->i2c_address, reg,
	I2C_MEMADD_SIZE_8BIT, bufp, len, 1000);

	return 0;
}

/*
 * @brief  Read generic magnetometer register (platform dependent)
 *
 * @param  handle    customizable argument. In this examples is used in
 *                   order to select the correct sensor bus handler.
 * @param  reg       register to read
 * @param  bufp      pointer to buffer that store the data read
 * @param  len       number of consecutive register to read
 *
 */
static int32_t platform_read_mag(void *handle, uint8_t reg, uint8_t *bufp,
		uint16_t len) {
	sensbus_t *sensbus = (sensbus_t*) handle;

	/* Read multiple command */
	reg |= 0x80;
	HAL_I2C_Mem_Read(sensbus->hbus, sensbus->i2c_address, reg,
	I2C_MEMADD_SIZE_8BIT, bufp, len, 1000);
	return 0;
}

/*
 * @brief  Write generic device register (platform dependent)
 *
 * @param  tx_buffer     buffer to trasmit
 * @param  len           number of byte to send
 *
 */

/*
 * @brief  platform specific delay (platform dependent)
 *
 * @param  ms        delay in ms
 *
 */
static void platform_delay(uint32_t ms) {
	HAL_Delay(ms);
}

/*
 * @brief  platform specific initialization (platform dependent)
 */

// Called when first half of buffer is filled
void HAL_ADC_ConvHalfCpltCallback(ADC_HandleTypeDef *hadc) {

}

// Called when buffer is completely filled
void HAL_ADC_ConvCpltCallback(ADC_HandleTypeDef *hadc) {
	ADC_VALUE = ((float) ADC1_BUFFER[0] / 4095) * 9200;
	headlight = ((float) ADC2_BUFFER[0]);
	//HAL_ADC_Stop_DMA(&hadc1);

}

uint8_t BSP_TP_Init(void) {
	// Initialise the interface and calibrate
	TP_Init(); // This is an empty function since done by STM32CubeMX
	TouchPanel_Calibrate();

	return 0;
}

uint8_t BSP_TP_GetDisplayPoint(Coordinate *pDisplay) {
	Coordinate *pScreen;

	pScreen = Read_Ads7846();
	if (pScreen == NULL) {
		return 1; // Error reading the touch panel
	}
	if (getDisplayPoint(pDisplay, pScreen, &matrix) == DISABLE) {
		return 1; // Error in LCD
	}
	return 0;
}

//LCD Functions
void LCD_Print(uint8_t *stateString) {
	//countLcd++;
	BSP_LCD_DisplayStringAtLine(0, stateString);
	sprintf(string2, "Speed: %.4f m/s", speed);
	BSP_LCD_DisplayStringAt(160, 75, (uint8_t*) string2, 0);
	//HAL_ADC_Start_DMA(&hadc1, ADC_BUFFER, ADC_BUFFER_LEN);
	sprintf(buffer, "Bat. Capacity: %4d %%", (int) batCap);
	BSP_LCD_DisplayStringAt(160, 95, (uint8_t*) buffer, 0);
	sprintf(buffer, "Distance: %4d cm", distance);
	BSP_LCD_DisplayStringAt(160, 115, (uint8_t*) buffer, 0);
	//	sprintf(buffer, "GYR x [mdps]:%4.2f", angular_rate_mdps[0]);
	//	BSP_LCD_DisplayStringAt(160,175,(uint8_t*)buffer,0);
	//	sprintf(buffer, "GYR y [mdps]:%4.2f", angular_rate_mdps[1]);
	//	BSP_LCD_DisplayStringAt(160,135,(uint8_t*)buffer,0);
	sprintf(buffer, "GYR z [mdps]:%4.2f", averageGyroZ);
	BSP_LCD_DisplayStringAt(160, 155, (uint8_t*) buffer, 0);
//	if(countLcd == 43){
//		printf("Bat. Voltage: %4d mV GYR z [mdps]:%4.2f Distance: %4d cm  \n",
//				(int) ADC_VALUE,averageGyroZ,distance);
//		countLcd = 0;
//	}

	//printf("Hello\n");
	//	sprintf(buffer, "MAG x [mG]:%4.2f", magnetic_field_mgauss[0]);
	//	BSP_LCD_DisplayStringAtLine (5, (uint8_t*)buffer);
	//	sprintf(buffer, "MAG y [mG]:%4.2f", magnetic_field_mgauss[1]);
	//	BSP_LCD_DisplayStringAtLine (6, (uint8_t*)buffer);
	//	sprintf(buffer, "MAG z [mG]:%4.2f", magnetic_field_mgauss[2]);
	//	BSP_LCD_DisplayStringAtLine (7, (uint8_t*)buffer);
}

void CalculatorInit(void) {
	// STEPIEN: Assume horizontal display

	// Initialize and turn on LCD and calibrate the touch panel
	BSP_LCD_Init();
	BSP_LCD_DisplayOn();
	BSP_TP_Init();

	// Display welcome message
	BSP_LCD_Clear(LCD_COLOR_WHITE);
	BSP_LCD_SetFont(&Font12);
	BSP_LCD_SetTextColor(LCD_COLOR_BLACK);
	//BSP_LCD_DisplayStringAtLine (0, (uint8_t*) "JCNK Calculator");
	//BSP_LCD_DisplayStringAtLine (1, (uint8_t*) VER_STRING);
	//BSP_LCD_DisplayStringAtLine (2, (uint8_t*) "Calculator Example");

	// Create colour choices
	//  BSP_LCD_SetTextColor (LCD_COLOR_RED);
	//  BSP_LCD_FillRect (5, 200, 30, 30);
	//  BSP_LCD_SetTextColor (LCD_COLOR_BLUE);
	//  BSP_LCD_FillRect (40, 200, 30, 30);
	//  BSP_LCD_SetTextColor (LCD_COLOR_GREEN);
	//  BSP_LCD_FillRect (75, 200, 30, 30);
	//  BSP_LCD_SetTextColor (LCD_COLOR_BLACK);
	//  BSP_LCD_FillRect (110, 200, 30, 30);
	//  BSP_LCD_SetTextColor (LCD_COLOR_MAGENTA);
	//  BSP_LCD_FillRect (145, 200, 30, 30);
	//  BSP_LCD_SetTextColor (LCD_COLOR_ORANGE);
	//  BSP_LCD_FillRect (180, 200, 30, 30);
	//  BSP_LCD_SetTextColor (LCD_COLOR_CYAN);
	//  BSP_LCD_FillRect (215, 200, 30, 30);
	//  BSP_LCD_SetTextColor (LCD_COLOR_YELLOW);
	//  BSP_LCD_FillRect (250, 200, 30, 30);
	//

	BSP_LCD_SetTextColor(LCD_COLOR_BLUE);

	//LEFT HALF
	BSP_LCD_DrawHLine(2, 39, 150);
	BSP_LCD_DrawHLine(2, 59, 150);
	BSP_LCD_DrawHLine(2, 149, 150);
	BSP_LCD_DrawHLine(2, 169, 150);
	BSP_LCD_DrawHLine(2, 227, 150);

	//Draw Vertical Lines for Button Grid
	BSP_LCD_DrawVLine(52, 60, 89);
	BSP_LCD_DrawVLine(102, 60, 89);
	BSP_LCD_DrawHLine(2, 105, 150);

	//BUTTON
	BSP_LCD_DrawVLine(2, 39, 189);
	BSP_LCD_DrawVLine(151, 39, 189);

	BSP_LCD_SetTextColor(LCD_COLOR_BLACK);
	BSP_LCD_DisplayStringAt(23, 77, "1", 0);
	BSP_LCD_DisplayStringAt(23, 122, "4", 0);
	BSP_LCD_DisplayStringAt(73, 77, "2", 0);
	BSP_LCD_DisplayStringAt(73, 122, "5", 0);
	BSP_LCD_DisplayStringAt(123, 77, "3", 0);
	BSP_LCD_DisplayStringAt(123, 122, "6", 0);

	BSP_LCD_DisplayStringAt(4, 45, "States:", 0);
	BSP_LCD_DisplayStringAt(4, 155, "Travel Map:", 0);

	//  //RIGHT HALF
	BSP_LCD_SetTextColor(LCD_COLOR_BLUE);
	BSP_LCD_DrawHLine(158, 39, 159);
	BSP_LCD_DrawHLine(158, 227, 159);
	BSP_LCD_DrawHLine(158, 70, 159);
	BSP_LCD_DrawHLine(158, 110, 159);
	BSP_LCD_DrawHLine(158, 150, 159);
	BSP_LCD_DrawHLine(158, 190, 159);
	BSP_LCD_DrawHLine(158, 90, 159);
	BSP_LCD_DrawHLine(158, 130, 159);
	BSP_LCD_DrawHLine(158, 170, 159);
	BSP_LCD_DrawHLine(158, 210, 159);
	//
	//Draw Vertical Lines for status bar
	BSP_LCD_DrawVLine(158, 39, 189);
	BSP_LCD_DrawVLine(317, 39, 189);

	BSP_LCD_SetTextColor(LCD_COLOR_BLACK);

	BSP_LCD_SetFont(&Font16);
	BSP_LCD_DisplayStringAt(203, 49, "Status", 0);
	BSP_LCD_SetFont(&Font12);
	//BSP_LCD_DisplayStringAt(160,75,"Speed: 1.0987 m/s",0);
	//	BSP_LCD_DisplayStringAt(160,95,"Distance: 400cm",0);
	//	BSP_LCD_DisplayStringAt(160,175,"Motor Current: 2mA",0);
	//	BSP_LCD_DisplayStringAt(160,135,"Direction: North",0);
	//	BSP_LCD_DisplayStringAt(160,155,"Orientation:AClockwise",0);
	//	BSP_LCD_DisplayStringAt(160,175,"Bat. Voltage: 1234 mV",0);
	BSP_LCD_DisplayStringAt(160, 195, " ", 0);

	//BSP_LCD_SetFont (&Font8);
	//BSP_LCD_DisplayStringAt(1,228,"Battery Voltage value: ",0);
	//BSP_LCD_SetFont (&Font12);
}

void LCDEntry(uint16_t displayEntryX, uint16_t displayEntryY,
		uint8_t *textEntry, uint16_t entryCount) {
	const uint16_t MAX_ENTRY_COUNT = 159;
	//BSP_LCD_DisplayStringAt(displayEntryX,displayEntryY,"1",0);
	if ((displayEntryX >= 312)
			&& ((displayEntryY == 4) || (displayEntryY == 15))) {
		BSP_LCD_DisplayStringAt(displayEntryX, displayEntryY, textEntry, 0);
		displayEntryY += 11;
		displayEntryX = 1;
		entryCount++;
	} else if (entryCount == MAX_ENTRY_COUNT) {
		BSP_LCD_SetFont(&Font8);
		BSP_LCD_DisplayStringAt(1, 231, "Max commands entered!", 0);
	} else {
		BSP_LCD_DisplayStringAt(displayEntryX, displayEntryY, textEntry, 0);
		entryCount++;
		displayEntryX += 6;
	}
}
;

void LCDEntry1(uint8_t *textEntry) {

	//BSP_LCD_DisplayStringAt(displayEntryX,displayEntryY,"1",0);
	if ((displayEntryX >= 312)
			&& ((displayEntryY == 4) || (displayEntryY == 15))) {
		BSP_LCD_DisplayStringAt(displayEntryX, displayEntryY, textEntry, 0);
		displayEntryY += 11;
		displayEntryX = 1;
		entryCount++;
	} else if (entryCount == MAX_ENTRY_COUNT) {
		BSP_LCD_SetFont(&Font8);
		BSP_LCD_DisplayStringAt(1, 231, "Max commands entered!", 0);
		BSP_LCD_SetFont(&Font12);
	} else {
		BSP_LCD_DisplayStringAt(displayEntryX, displayEntryY, textEntry, 0);
		entryCount++;
		displayEntryX += 6;
	}
}
;

void LCDEntry2(uint8_t *textEntry, int length) {

	//BSP_LCD_DisplayStringAt(displayEntryX,displayEntryY,"1",0);
	if ((displayEntryX >= 312)
			&& ((displayEntryY == 4) || (displayEntryY == 15))) {
		BSP_LCD_DisplayStringAt(displayEntryX, displayEntryY, textEntry, 0);
		displayEntryY += 11;
		displayEntryX = 1;
		entryCount = entryCount + (length);
	} else if (entryCount == MAX_ENTRY_COUNT) {
		BSP_LCD_SetFont(&Font8);
		BSP_LCD_DisplayStringAt(1, 231, "Max commands entered!", 0);
	} else {
		BSP_LCD_DisplayStringAt(displayEntryX, displayEntryY, textEntry, 0);
		entryCount = entryCount + length;
		displayEntryX += 6 * (length);
	}
}
;

void CalculatorProcess(void) {
	static uint8_t token[159];//buffer to hold the current token being read (i.e. a digit with any dots), size 159 for max calculator input
	static uint8_t *tokenPtr;//tokenPtr used to allocate memory for the size of the input
	static uint16_t digitFlag = 0;	//flag to determine if a digit was read last
	static uint16_t digitCount = 0;		//count to increment the index of token

	static uint8_t **tokens;				//array of pointers to strings
	static uint16_t tokenCount = 0;			//count of how many tokens are read
	static uint16_t resetFlag = 0;

	static uint16_t shift = 0; //help to switch button display and whether we compute inverse trig functions or not (extensions to fit more functionality in a small screen)
	static uint16_t deg = 1; //flag to help user to use trig functions for degrees or radian answer conversion before computing. (does not apply to hyperbolic functions)
	static uint16_t eq = 0; //equal symbol flag to help clear screen when taking user input after computing an answer

	if (resetFlag == 0) {
		tokens = (uint8_t**) malloc(sizeof(uint8_t*) * 159); //allocate memory on first pass
		memset(token, '\0', sizeof(token));
		resetFlag = 1;
	}

	//
	//	BSP_LCD_DrawVLine (52, 60, 89);
	//	    BSP_LCD_DrawVLine (102, 60, 89);
	//	    BSP_LCD_DrawHLine (2, 105, 150);
	if (BSP_TP_GetDisplayPoint(&display) == 0) { // if touched
		if ((display.x >= 2) && (display.x <= 51) && (display.y >= 60)
				&& (display.y <= 105)) {
			BSP_LCD_SetTextColor(LCD_COLOR_BLACK);
			BSP_LCD_DisplayStringAt(23, 77, "10cm", 0);
			BSP_LCD_DisplayStringAt(73, 77, "20cm", 0);
			BSP_LCD_DisplayStringAt(123, 77, "30cm", 0);
			BSP_LCD_DisplayStringAt(23, 122, "40cm", 0);
			BSP_LCD_DisplayStringAt(73, 122, "50cm", 0);
			BSP_LCD_DisplayStringAt(123, 122, "60cm", 0);
			HAL_Delay(800);
			while (distSelect() == 1) {
			}
			//			while(BSP_TP_GetDisplayPoint(&display) != 0){}
			//			if ((display.x >= 2) && (display.x <= 51) && (display.y >= 60)&& (display.y <= 105)) stopDist=10;
			//			else if ((display.x >= 52) && (display.x <= 101) && (display.y >= 60)&& (display.y <= 105)) stopDist=20;
			//			else if ((display.x >= 102) && (display.x <= 150) && (display.y >= 60)&& (display.y <= 105)) stopDist=30;
			//			else if ((display.x >= 2) && (display.x <= 51) && (display.y >= 106)&& (display.y <= 149)) stopDist=40;
			//			else if ((display.x >= 52) && (display.x <= 101) && (display.y >= 106)&& (display.y <= 149)) stopDist=50;
			//			else if ((display.x >= 102) && (display.x <= 150)&& (display.y >= 106) && (display.y <= 149)) stopDist=60;
			state = state2;

			BSP_LCD_SetTextColor(LCD_COLOR_BLACK);
			BSP_LCD_DisplayStringAt(23, 77, "1   ", 0);
			BSP_LCD_DisplayStringAt(73, 77, "2   ", 0);
			BSP_LCD_DisplayStringAt(23, 122, "4   ", 0);
			BSP_LCD_DisplayStringAt(73, 122, "5   ", 0);
			BSP_LCD_DisplayStringAt(123, 77, "3   ", 0);
			BSP_LCD_DisplayStringAt(123, 122, "6   ", 0);
			return 0;
		} else if ((display.x >= 52) && (display.x <= 101) && (display.y >= 60)
				&& (display.y <= 105)) {
			BSP_LCD_SetTextColor(LCD_COLOR_RED);
			BSP_LCD_DisplayStringAt(73, 77, "2", 0);
			BSP_LCD_SetTextColor(LCD_COLOR_BLACK);
			BSP_LCD_DisplayStringAt(23, 77, "1", 0);
			BSP_LCD_DisplayStringAt(23, 122, "4", 0);

			BSP_LCD_DisplayStringAt(73, 122, "5", 0);
			BSP_LCD_DisplayStringAt(123, 77, "3", 0);
			BSP_LCD_DisplayStringAt(123, 122, "6", 0);
			state = state4;
			return 0;
		} else if ((display.x >= 102) && (display.x <= 150) && (display.y >= 60)
				&& (display.y <= 105)) {
			BSP_LCD_SetTextColor(LCD_COLOR_RED);
			BSP_LCD_DisplayStringAt(123, 77, "3", 0);
			BSP_LCD_SetTextColor(LCD_COLOR_BLACK);
			BSP_LCD_DisplayStringAt(23, 77, "1", 0);
			BSP_LCD_DisplayStringAt(23, 122, "4", 0);
			BSP_LCD_DisplayStringAt(73, 77, "2", 0);
			BSP_LCD_DisplayStringAt(73, 122, "5", 0);

			BSP_LCD_DisplayStringAt(123, 122, "6", 0);
			state = state5;
			return 0;
		} else if ((display.x >= 2) && (display.x <= 51) && (display.y >= 106)
				&& (display.y <= 149)) {
//			BSP_LCD_SetTextColor(LCD_COLOR_RED);
//			BSP_LCD_DisplayStringAt(23, 122, "4", 0);
			BSP_LCD_SetTextColor(LCD_COLOR_BLACK);
						BSP_LCD_DisplayStringAt(23, 77, "long", 0);
						BSP_LCD_DisplayStringAt(73, 77, "short", 0);
						BSP_LCD_DisplayStringAt(123, 77, "diag", 0);
						BSP_LCD_DisplayStringAt(23, 122, "T4", 0);
						BSP_LCD_DisplayStringAt(73, 122, "T5", 0);
						BSP_LCD_DisplayStringAt(123, 122, "T6", 0);
						HAL_Delay(800);
						while (trackSelect() == 1) {
						}
			BSP_LCD_SetTextColor(LCD_COLOR_BLACK);
			BSP_LCD_DisplayStringAt(23, 77, "1   ", 0);

			BSP_LCD_DisplayStringAt(73, 77, "2    ", 0);
			BSP_LCD_DisplayStringAt(73, 122, "5 ", 0);
			BSP_LCD_DisplayStringAt(123, 77, "3   ", 0);
			BSP_LCD_DisplayStringAt(23, 122, "4 ", 0);
			BSP_LCD_DisplayStringAt(123, 122, "6 ", 0);
			state = state6;
			return 0;
		} else if ((display.x >= 52) && (display.x <= 101) && (display.y >= 106)
				&& (display.y <= 149)) {
			BSP_LCD_SetTextColor(LCD_COLOR_RED);
			BSP_LCD_DisplayStringAt(73, 122, "5", 0);
			BSP_LCD_SetTextColor(LCD_COLOR_BLACK);
			BSP_LCD_DisplayStringAt(23, 77, "1", 0);
			BSP_LCD_DisplayStringAt(23, 122, "4", 0);
			BSP_LCD_DisplayStringAt(73, 77, "2", 0);

			BSP_LCD_DisplayStringAt(123, 77, "3", 0);
			BSP_LCD_DisplayStringAt(123, 122, "6", 0);
		} else if ((display.x >= 102) && (display.x <= 150)
				&& (display.y >= 106) && (display.y <= 149)) {
			BSP_LCD_SetTextColor(LCD_COLOR_RED);
			BSP_LCD_DisplayStringAt(123, 122, "6", 0);
			BSP_LCD_SetTextColor(LCD_COLOR_BLACK);
			BSP_LCD_DisplayStringAt(23, 77, "1", 0);
			BSP_LCD_DisplayStringAt(23, 122, "4", 0);
			BSP_LCD_DisplayStringAt(73, 77, "2", 0);
			BSP_LCD_DisplayStringAt(73, 122, "5", 0);
			BSP_LCD_DisplayStringAt(123, 77, "3", 0);

		}
	}
	HAL_Delay(100);
}

int trackSelect() {
	int a = 0;
	if (BSP_TP_GetDisplayPoint(&display) == 0) {
		if ((display.x >= 2) && (display.x <= 51) && (display.y >= 60)
				&& (display.y <= 105)){
			track = TRACKONE;
		trackLight = track*0.45;}
		else if ((display.x >= 52) && (display.x <= 101) && (display.y >= 60)
				&& (display.y <= 105)){
			track = TRACKTWO;
		trackLight = 0.4*track;}
		else if ((display.x >= 102) && (display.x <= 150) && (display.y >= 60)
				&& (display.y <= 105)){
			track = TRACKTHREE;
		trackLight = track*0.5;}
		else if ((display.x >= 2) && (display.x <= 51) && (display.y >= 106)
				&& (display.y <= 149)){
			track = TRACKFOUR;}
		else if ((display.x >= 52) && (display.x <= 101) && (display.y >= 106)
				&& (display.y <= 149)){
			track = TRACKFIVE;}
		else if ((display.x >= 102) && (display.x <= 150) && (display.y >= 106)
				&& (display.y <= 149)){
			track = TRACKSIX;}
	} else {
		a = 1;
	}

	return a;

}

int distSelect(){
	int a = 0;
		if (BSP_TP_GetDisplayPoint(&display) == 0) {
			if ((display.x >= 2) && (display.x <= 51) && (display.y >= 60)
					&& (display.y <= 105))
				stopDist = 20;
			else if ((display.x >= 52) && (display.x <= 101) && (display.y >= 60)
					&& (display.y <= 105))
				stopDist = 25;
			else if ((display.x >= 102) && (display.x <= 150) && (display.y >= 60)
					&& (display.y <= 105))
				stopDist = 30;
			else if ((display.x >= 2) && (display.x <= 51) && (display.y >= 106)
					&& (display.y <= 149))
				stopDist = 40;
			else if ((display.x >= 52) && (display.x <= 101) && (display.y >= 106)
					&& (display.y <= 149))
				stopDist = 50;
			else if ((display.x >= 102) && (display.x <= 150) && (display.y >= 106)
					&& (display.y <= 149))
				stopDist = 60;
		} else {
			a = 1;
		}

		return a;
}

void HAL_UART_RxCpltCallback(UART_HandleTypeDef *huart) {

	char *input=(char*)rx_data;
	light= rx_data[0];
	one= rx_data[1];
	two= rx_data[2];
	//HAL_UART_Transmit(&huart3,(uint8_t) Light, 1, HAL_MAX_DELAY);

	if((one == '0') && (two == '3')){
		//just a test to see how to get the traffic time
		//works
		//HAL_GPIO_WritePin(GPIOD, GPIO_PIN_15,GPIO_PIN_SET);
	}else{
		//HAL_GPIO_WritePin(GPIOD, GPIO_PIN_15,GPIO_PIN_RESET);
	}

	if( light == 'R' ){
		//printf("%s\n",input);
		HAL_GPIO_WritePin(GPIOB, GPIO_PIN_12, 0);
		HAL_GPIO_WritePin(GPIOE, GPIO_PIN_0, 0);
		HAL_GPIO_WritePin(GPIOA, GPIO_PIN_10, 1);
		trafficStop=1;

	}
	if(light == 'G' ){
		//printf("%s\n",input);
		HAL_GPIO_WritePin(GPIOB, GPIO_PIN_12, 0);
		HAL_GPIO_WritePin(GPIOE, GPIO_PIN_0, 1);
		HAL_GPIO_WritePin(GPIOA, GPIO_PIN_10, 0);
		trafficStop=0;
	}
	if(light == 'A' ){
		//printf("%s\n",input);
		HAL_GPIO_WritePin(GPIOB, GPIO_PIN_12, 1);
		HAL_GPIO_WritePin(GPIOE, GPIO_PIN_0, 0);
		HAL_GPIO_WritePin(GPIOA, GPIO_PIN_10, 0);
		trafficStop=1;
	}

}

void HAL_TIM_PeriodElapsedCallback(TIM_HandleTypeDef *htim) {

	if(ADC_VALUE>7500){
		batCap= (int)(ADC_VALUE*100/8200);
	}
	else if(ADC_VALUE>6500){
		batCap=(int)((70/1000)*ADC_VALUE-435);
	}
	else{
		batCap=20;
	}
distTravelled= quarterRevs*4.6;
	printf("<Bat. Capacity: %4d %% Speed: %5.3f m/s  US Dist: %4d cm Dist. Travelled: %4.1f cm>\n",
			(int) batCap, speed, distance, distTravelled);
LCD_Print(stateString);
//	printf("<Hello>\n");

}
/* USER CODE END 4 */

void Error_Handler(void)
{
}

/************************ (C) COPYRIGHT STMicroelectronics *****END OF FILE****/
